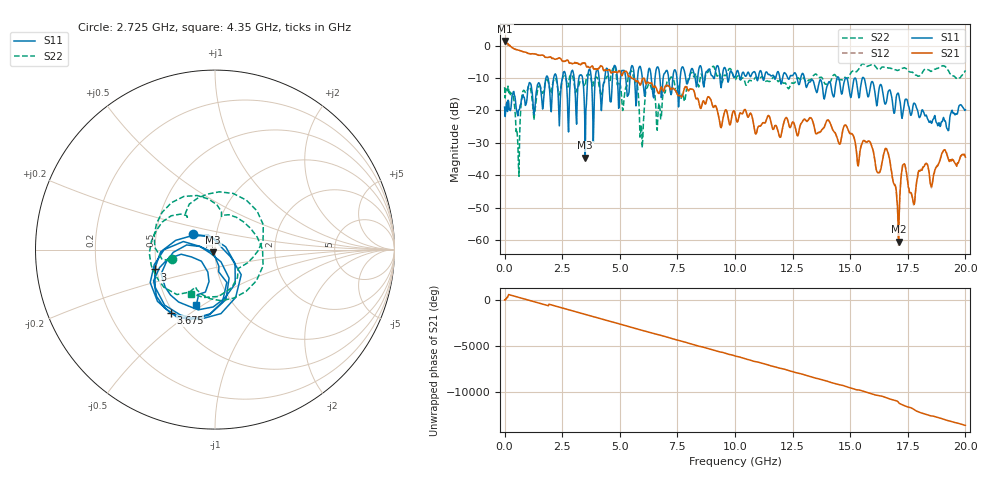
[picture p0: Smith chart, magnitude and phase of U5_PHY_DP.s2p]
!Agilent Technologies,N5230A,MY45001538,A.06.04.05
!Agilent N5230A: A.06.04.05
!Date: Wednesday, April 08, 2026 15:59:34
!Correction: S11(Full 2 Port(1,2)) S21(Full 2 Port(1,2)) S12(Full 2 Port(1,2)) S22(Full 2 Port(1,2))
!S2P File: Measurements: S11, S21, S12, S22:
# Hz S  dB  R 50
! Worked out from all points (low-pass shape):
!   801 points, 300 kHz to 20 GHz, reference 50 ohm
!   highest |S21| = 1.44 dB at 25.3 MHz (marker M1); lowest = -60.5 dB at 17.1 GHz (marker M2)
!   |S21| within 3 dB of the highest: start of sweep to 669.4 MHz
!   lowest |S11| = -34.6 dB at 3.5 GHz (marker M3), VSWR 1.04, Z = 49 - j1.55 ohm
!   |S11| at or under -10 dB: start of sweep to 1.794 GHz; 13.02 GHz to 14.42 GHz (1.409 GHz wide, 10.3 % of centre); 15.59 GHz to end of sweep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
!   |S22| runs from -40.3 to -5.6 dB; largest |S21 - S12| = 0.34
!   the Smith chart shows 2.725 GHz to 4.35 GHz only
!   S11 on the Smith chart (normalised r, x): 2.725 GHz: 0.77, +0.14; 3 GHz: 0.49, -0.12; 3.675 GHz: 0.49, -0.42; 4.35 GHz: 0.68, -0.47
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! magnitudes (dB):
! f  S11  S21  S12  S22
! 300 kHz  -19.0  1.1  1.6  -12.8
! 25.3 MHz  -21.9  1.4  0.4  -16.1
! 575.3 MHz  -21.7  -1.3  -1.3  -30.4
! 850.3 MHz  -15.9  -1.9  -2.0  -13.8
! 2.725 GHz  -16.4  -4.4  -4.5  -12.3
! 3 GHz  -9.0  -5.5  -5.4  -10.9
! 3.35 GHz  -9.2  -5.4  -5.6  -10.8
! 3.5 GHz  -34.6  -5.4  -5.5  -12.3
! 3.675 GHz  -7.3  -6.8  -6.7  -8.9
! 4.35 GHz  -9.8  -7.6  -7.4  -11.1
! 5.5 GHz  -6.5  -9.9  -9.8  -7.8
! 5.95 GHz  -8.4  -11.1  -10.9  -26.2
! 6.25 GHz  -7.4  -11.5  -11.3  -11.8
! 6.675 GHz  -6.9  -14.6  -14.7  -19.1
! 7.175 GHz  -13.5  -12.9  -13.1  -10.3
! 10 GHz  -9.8  -20.9  -20.9  -10.5
! 13.35 GHz  -10.5  -22.9  -22.9  -9.9
! 16.68 GHz  -13.9  -34.0  -33.9  -6.9
! 17.1 GHz  -14.9  -60.5  -61.9  -7.5
! 17.33 GHz  -19.3  -36.6  -36.4  -6.8
! 17.73 GHz  -18.6  -47.9  -47.9  -8.3
! 20 GHz  -19.8  -34.4  -34.0  -7.6
